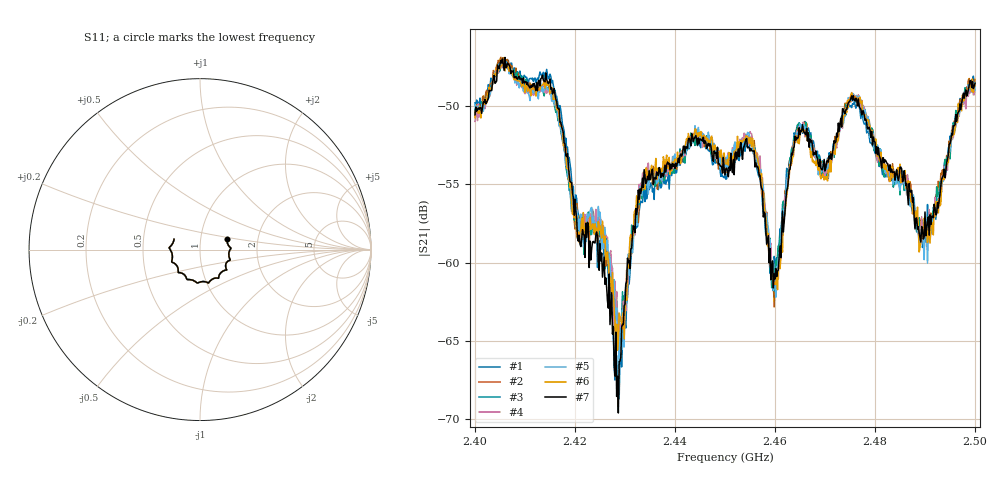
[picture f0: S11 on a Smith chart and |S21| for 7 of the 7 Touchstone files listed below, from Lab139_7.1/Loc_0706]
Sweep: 2.4 GHz to 2.5 GHz
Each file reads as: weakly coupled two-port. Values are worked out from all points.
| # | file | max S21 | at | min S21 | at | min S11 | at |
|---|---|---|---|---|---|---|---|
| 1 | Lab_139_1Ch1.s2p | -46.93 dB | 2.4055 GHz | -68.7 dB | 2.4288 GHz | -15.8 dB | 2.4992 GHz |
| 2 | Lab_139_3Ch1.s2p | -46.88 dB | 2.4052 GHz | -64.7 dB | 2.429 GHz | -15.8 dB | 2.4993 GHz |
| 3 | Lab_139_4Ch1.s2p | -47.27 dB | 2.4052 GHz | -65.2 dB | 2.4292 GHz | -15.8 dB | 2.4993 GHz |
| 4 | Lab_139_6Ch1.s2p | -47.22 dB | 2.4062 GHz | -65.0 dB | 2.4292 GHz | -15.8 dB | 2.4993 GHz |
| 5 | Lab_139_7Ch1.s2p | -47.18 dB | 2.406 GHz | -66.8 dB | 2.4288 GHz | -15.8 dB | 2.4993 GHz |
| 6 | Lab_139_8Ch1.s2p | -47.22 dB | 2.4057 GHz | -65.6 dB | 2.4285 GHz | -15.8 dB | 2.4993 GHz |
| 7 | Lab_139_10Ch1.s2p | -46.89 dB | 2.406 GHz | -69.6 dB | 2.4287 GHz | -15.8 dB | 2.4993 GHz |
